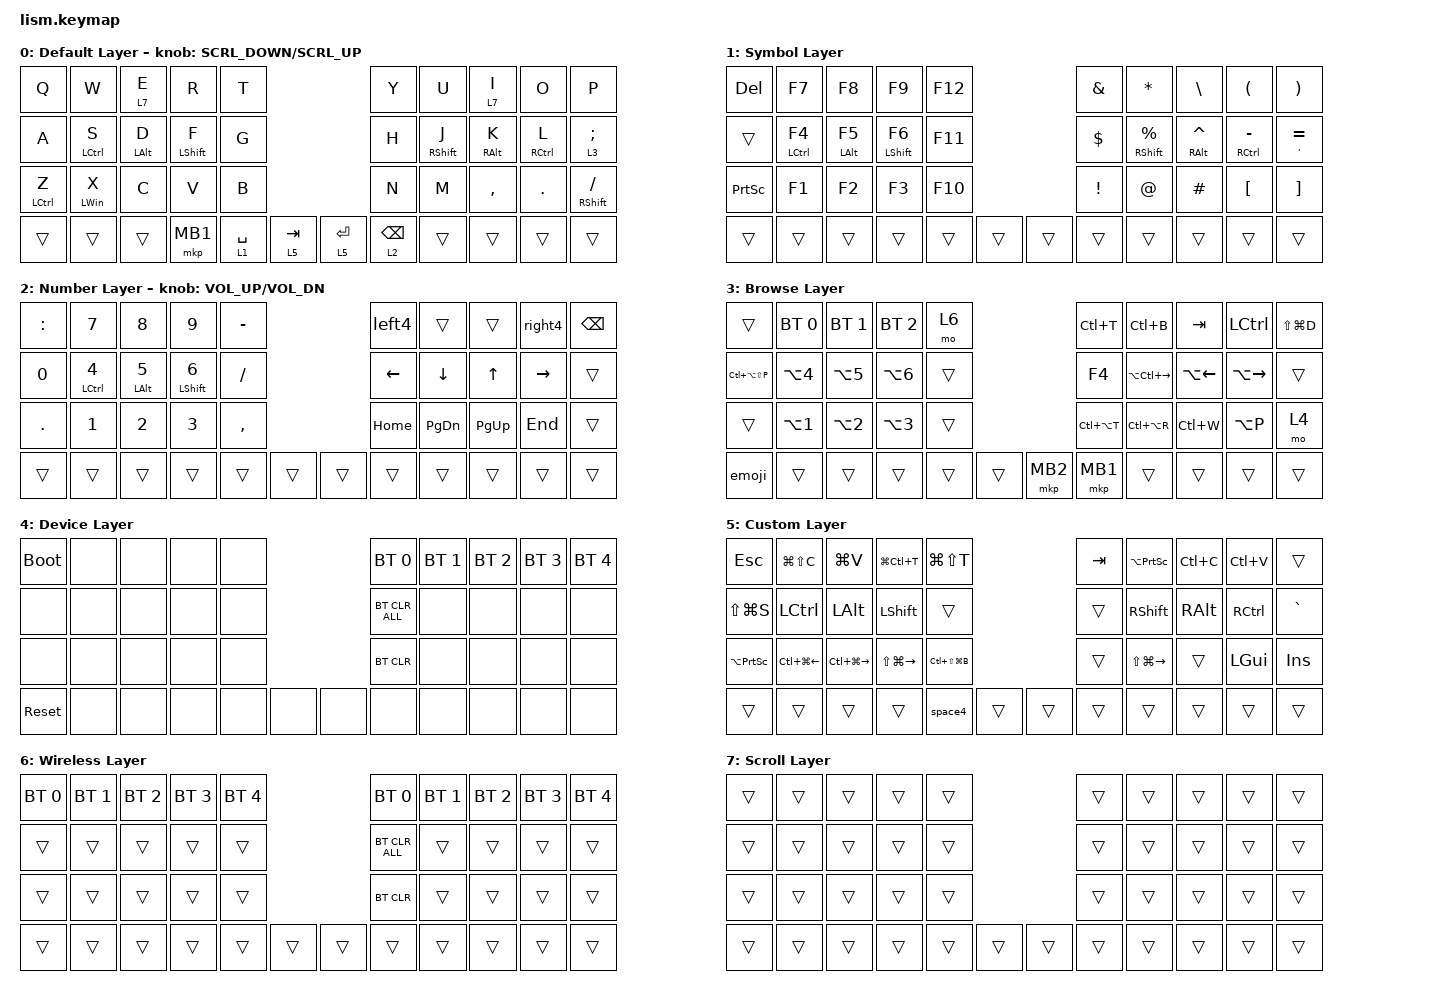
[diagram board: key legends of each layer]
#define ZMK_POINTING_DEFAULT_SCRL_VAL 200

#include <behaviors.dtsi>
#include <dt-bindings/zmk/bt.h>
#include <dt-bindings/zmk/keys.h>
#include <dt-bindings/zmk/pointing.h>
#include <dt-bindings/zmk/mouse.h>

&mt {
    tapping-term-ms = <200>;
    flavor = "balanced";
    quick-tap-ms = <300>;
};

&lt { quick-tap-ms = <300>; };

/ {
    macros {
        emoji: emoji_macro {
            compatible = "zmk,behavior-macro";
            label = "EMOJI";
            #binding-cells = <0>;
            bindings =
                <&macro_press>,
                <&kp CAPSLOCK>,
                <&macro_tap>,
                <&kp E>,
                <&macro_release>,
                <&kp CAPSLOCK>;
        };

        space4: space4 {
            compatible = "zmk,behavior-macro";
            #binding-cells = <0>;
            bindings = <&kp SPACE &kp SPACE &kp SPACE &kp SPACE>;
            label = "SPACE4";
        };

        left4: left4 {
            compatible = "zmk,behavior-macro";
            #binding-cells = <0>;
            bindings = <&kp LEFT &kp LEFT &kp LEFT &kp LEFT>;
            label = "LEFT4";
        };

        right4: right4 {
            compatible = "zmk,behavior-macro";
            #binding-cells = <0>;
            bindings = <&kp RIGHT &kp RIGHT &kp RIGHT &kp RIGHT>;
            label = "RIGHT4";
        };
    };

    behaviors {
        encoder_msc: sensor_rotate_msc {
            compatible = "zmk,behavior-sensor-rotate-var";
            #sensor-binding-cells = <2>;
            bindings = <&msc>, <&msc>;

            tap-ms = <20>;
        };

        encoder_kp: sensor_rotate_kp {
            compatible = "zmk,behavior-sensor-rotate-var";
            #sensor-binding-cells = <2>;
            bindings = <&kp>, <&kp>;
        };
    };

    combos {
        compatible = "zmk,combos";

        delete {
            bindings = <&kp DELETE>;
            key-positions = <8 9>;
        };

        escape {
            bindings = <&kp ESCAPE>;
            key-positions = <1 0>;
        };

        minus {
            bindings = <&kp MINUS>;
            key-positions = <18 19>;
        };

        single {
            bindings = <&kp SINGLE_QUOTE>;
            key-positions = <29 28>;
        };

        toEng {
            bindings = <&kp LANG2>;
            key-positions = <22 23>;
        };

        toJp {
            bindings = <&kp LANG1>;
            key-positions = <27 26>;
        };

        mb2 {
            bindings = <&mkp MB2>;
            key-positions = <13 12>;
        };

        mb3 {
            bindings = <&mkp MB3>;
            key-positions = <20 21>;
        };
    };

    keymap {
        compatible = "zmk,keymap";

        default_layer {
            display-name = "Default Layer";
            bindings = <
&kp Q        &kp W        &lt 7 E         &kp R         &kp T                                  &kp Y            &kp U         &lt 7 I          &kp O        &kp P
&kp A        &mt LCTRL S  &mt LEFT_ALT D  &mt LSHIFT F  &kp G                                  &kp H            &mt RSHIFT J  &mt RIGHT_ALT K  &mt RCTRL L  &lt 3 SEMICOLON
&mt LCTRL Z  &mt LWIN X   &kp C           &kp V         &kp B                                  &kp N            &kp M         &kp COMMA        &kp DOT      &mt RSHIFT SLASH
&trans       &trans       &trans          &mkp MB1      &lt 1 SPACE  &lt 5 TAB    &lt 5 ENTER  &lt 2 BACKSPACE  &trans        &trans           &trans       &trans
            >;

            sensor-bindings = <&encoder_msc SCRL_DOWN SCRL_UP>;
        };

        layer_1 {
            display-name = "Symbol Layer";
            bindings = <
&kp DELETE       &kp F7        &kp F8           &kp F9         &kp F12                    &kp AMPERSAND    &kp ASTERISK        &kp BACKSLASH        &kp LEFT_PARENTHESIS  &kp RIGHT_PARENTHESIS
&trans           &mt LCTRL F4  &mt LEFT_ALT F5  &mt LSHIFT F6  &kp F11                    &kp DOLLAR       &mt RSHIFT PERCENT  &mt RIGHT_ALT CARET  &mt RCTRL MINUS       &mt SQT EQUAL
&kp PRINTSCREEN  &kp F1        &kp F2           &kp F3         &kp F10                    &kp EXCLAMATION  &kp AT_SIGN         &kp HASH             &kp LBKT              &kp RBKT
&trans           &trans        &trans           &trans         &trans   &trans    &trans  &trans           &trans              &trans               &trans                &trans
            >;
        };

        layer_2 {
            display-name = "Number Layer";
            bindings = <
&kp COLON   &kp NUMBER_7        &kp NUMBER_8           &kp NUMBER_9         &kp MINUS                    &left4    &trans         &trans       &right4    &kp BACKSPACE
&kp N0      &mt LCTRL NUMBER_4  &mt LEFT_ALT NUMBER_5  &mt LSHIFT NUMBER_6  &kp SLASH                    &kp LEFT  &kp DOWN       &kp UP       &kp RIGHT  &trans
&kp PERIOD  &kp NUMBER_1        &kp NUMBER_2           &kp NUMBER_3         &kp COMMA                    &kp HOME  &kp PAGE_DOWN  &kp PAGE_UP  &kp END    &trans
&trans      &trans              &trans                 &trans               &trans     &trans    &trans  &trans    &trans         &trans       &trans     &trans
            >;

            sensor-bindings = <&encoder_kp C_VOL_UP C_VOL_DN>;
        };

        layer_3 {
            display-name = "Browse Layer";
            bindings = <
&trans             &bt BT_SEL 0  &bt BT_SEL 1  &bt BT_SEL 2  &mo 6                       &kp LC(T)      &kp LC(B)          &kp TAB       &kp LCTRL      &kp LS(LG(D))
&kp LC(LA(LS(P)))  &kp LA(N4)    &kp LA(N5)    &kp LA(N6)    &trans                      &kp F4         &kp LA(LC(RIGHT))  &kp LA(LEFT)  &kp LA(RIGHT)  &trans
&trans             &kp LA(N1)    &kp LA(N2)    &kp LA(N3)    &trans                      &kp LC(LA(T))  &kp LC(LA(R))      &kp LC(W)     &kp LA(P)      &mo 4
&emoji             &trans        &trans        &trans        &trans  &trans    &mkp MB2  &mkp MB1       &trans             &trans        &trans         &trans
            >;
        };

        layer_4 {
            display-name = "Device Layer";
            bindings = <
&bootloader  &none  &none  &none  &none                  &bt BT_SEL 0    &bt BT_SEL 1  &bt BT_SEL 2  &bt BT_SEL 3  &bt BT_SEL 4
&none        &none  &none  &none  &none                  &bt BT_CLR_ALL  &none         &none         &none         &none
&none        &none  &none  &none  &none                  &bt BT_CLR      &none         &none         &none         &none
&sys_reset   &none  &none  &none  &none  &none    &none  &none           &none         &none         &none         &none
            >;
        };

        layer_5 {
            display-name = "Custom Layer";
            bindings = <
&kp ESC              &kp LG(LS(C))     &kp LG(V)          &kp LG(LC(T))      &kp LG(LS(T))                        &kp TAB  &kp LA(PRINTSCREEN)  &kp LC(C)  &kp LC(V)  &trans
&kp LS(LG(S))        &kp LCTRL         &kp LALT           &kp LSHFT          &trans                               &trans   &kp RSHFT            &kp RALT   &kp RCTRL  &kp GRAVE
&kp LA(PRINTSCREEN)  &kp LC(LG(LEFT))  &kp LC(LG(RIGHT))  &kp LS(LG(RIGHT))  &kp LC(LS(LG(B)))                    &trans   &kp LS(LG(RIGHT))    &trans     &kp LGUI   &kp INS
&trans               &trans            &trans             &trans             &space4            &trans    &trans  &trans   &trans               &trans     &trans     &trans
            >;
        };

        layer_6 {
            display-name = "Wireless Layer";
            bindings = <
&bt BT_SEL 0  &bt BT_SEL 1  &bt BT_SEL 2  &bt BT_SEL 3  &bt BT_SEL 4                    &bt BT_SEL 0    &bt BT_SEL 1  &bt BT_SEL 2  &bt BT_SEL 3  &bt BT_SEL 4
&trans        &trans        &trans        &trans        &trans                          &bt BT_CLR_ALL  &trans        &trans        &trans        &trans
&trans        &trans        &trans        &trans        &trans                          &bt BT_CLR      &trans        &trans        &trans        &trans
&trans        &trans        &trans        &trans        &trans        &trans    &trans  &trans          &trans        &trans        &trans        &trans
            >;
        };

        layer_7 {
            display-name = "Scroll Layer";
            bindings = <
&trans  &trans  &trans  &trans  &trans                    &trans  &trans  &trans  &trans  &trans
&trans  &trans  &trans  &trans  &trans                    &trans  &trans  &trans  &trans  &trans
&trans  &trans  &trans  &trans  &trans                    &trans  &trans  &trans  &trans  &trans
&trans  &trans  &trans  &trans  &trans  &trans    &trans  &trans  &trans  &trans  &trans  &trans
            >;
        };
    };
};
